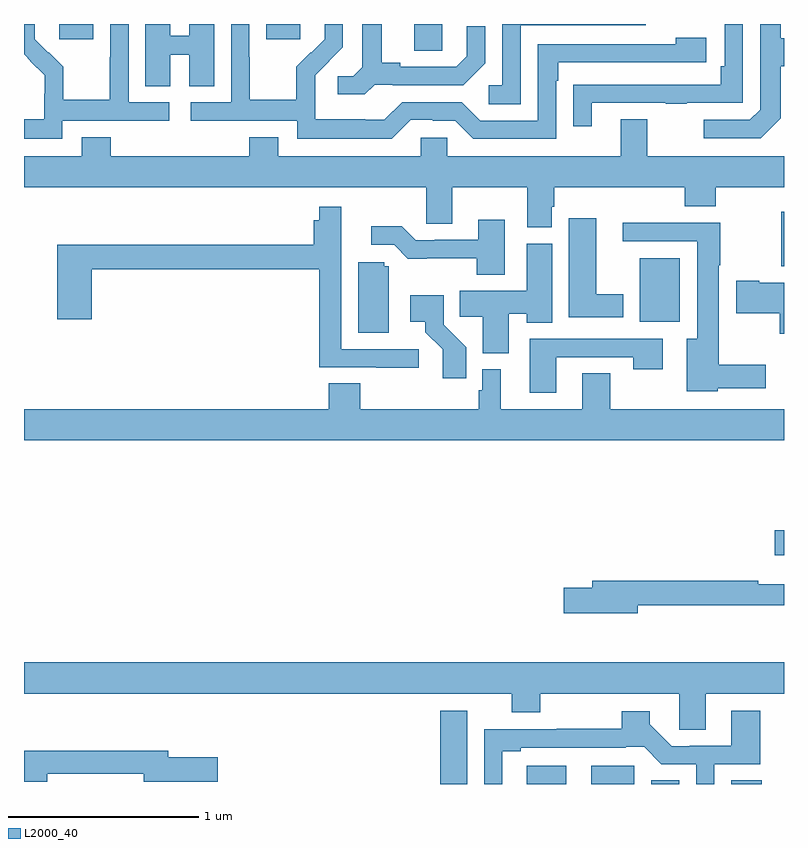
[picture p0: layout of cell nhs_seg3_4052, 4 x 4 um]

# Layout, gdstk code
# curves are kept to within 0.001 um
import gdstk
lib = gdstk.Library(unit=1e-6, precision=1e-09)
def R(c, l, rs):  # rectangles x0, y0, x1, y1
    for r in rs: c.add(gdstk.rectangle(r[:2], r[2:], *l))
def P(c, l, *ps):  # polygons
    for p in ps: c.add(gdstk.Polygon(p, *l))
L2000_40 = (2000, 40)

nhs_seg3_4052 = lib.new_cell('nhs_seg3_4052')
R(nhs_seg3_4052, L2000_40, [(325.19,740.4,325.333,740.785), (325.646,740.4,325.855,740.497), (325.985,740.4,326.212,740.497), (326.3,740.4,326.449,740.42), (326.723,740.4,326.884,740.42), (326.952,741.605,327,741.735), (326.24,742.832,326.452,743.167), (326.986,743.126,327,743.413), (325.055,744.259,325.2,744.4), (323.186,744.321,323.365,744.4), (324.275,744.321,324.454,744.4)])
P(nhs_seg3_4052, L2000_40, [(323.77,744.238),(323.87,744.238),(323.87,744.073),(324.001,744.073),(324.001,744.4),(323.87,744.4),(323.87,744.338),(323.77,744.338),(323.77,744.4),(323.639,744.4),(323.639,744.073),(323.77,744.073)],
  [(325.035,743.895),(325.151,743.895),(325.151,743.892),(325.269,743.892),(325.365,743.796),(325.8,743.796),(325.8,744.101),(325.813,744.101),(325.813,744.198),(326.59,744.198),(326.59,744.328),(326.429,744.328),(326.429,744.294),(325.704,744.294),(325.704,743.892),(325.401,743.892),(325.305,743.988),(324.99,743.988),(324.897,743.895),(324.797,743.895),(324.797,743.899),(324.534,743.899),(324.534,744.033),(324.532,744.033),(324.532,744.13),(324.678,744.278),(324.678,744.4),(324.584,744.4),(324.584,744.32),(324.513,744.249),(324.51,744.252),(324.433,744.175),(324.433,744.001),(324.189,744.001),(324.189,744.224),(324.186,744.224),(324.186,744.4),(324.09,744.4),(324.09,743.988),(323.877,743.988),(323.877,743.892),(324.438,743.892),(324.438,743.795),(324.935,743.795)],
  [(323.202,743.892),(323.764,743.892),(323.764,743.988),(323.55,743.988),(323.55,744.4),(323.454,744.4),(323.454,744.224),(323.452,744.224),(323.452,744.001),(323.207,744.001),(323.207,744.175),(323.13,744.252),(323.127,744.249),(323.057,744.32),(323.057,744.4),(323,744.4),(323,744.24),(323.108,744.13),(323.108,744.033),(323.106,744.033),(323.106,743.899),(323,743.899),(323,743.795),(323.202,743.795)],
  [(324.846,744.081),(324.94,744.081),(324.94,744.078),(325.312,744.078),(325.428,744.194),(325.428,744.388),(325.331,744.388),(325.331,744.231),(325.274,744.174),(324.979,744.174),(324.979,744.197),(324.883,744.197),(324.883,744.4),(324.779,744.4),(324.779,744.173),(324.732,744.126),(324.651,744.126),(324.651,744.029),(324.794,744.029)],
  [(326.983,743.905),(326.983,744.178),(327,744.178),(327,744.325),(326.983,744.325),(326.983,744.4),(326.874,744.4),(326.874,743.949),(326.82,743.895),(326.577,743.895),(326.577,743.799),(326.877,743.799)],
  [(325.614,744.393),(326.273,744.393),(326.273,744.4),(325.518,744.4),(325.518,744.078),(325.446,744.078),(325.446,743.977),(325.614,743.977)],
  [(325.987,743.985),(326.377,743.985),(326.377,743.98),(326.489,743.98),(326.489,743.985),(326.784,743.985),(326.784,744.4),(326.688,744.4),(326.688,744.178),(326.668,744.178),(326.668,744.081),(325.993,744.081),(325.993,744.08),(325.891,744.08),(325.891,743.862),(325.987,743.862)],
  [(325.777,743.439),(325.79,743.439),(325.79,743.54),(326.477,743.54),(326.477,743.441),(326.642,743.441),(326.642,743.54),(327,743.54),(327,743.704),(326.281,743.704),(326.281,743.899),(326.141,743.899),(326.141,743.704),(325.227,743.704),(325.227,743.802),(325.089,743.802),(325.089,743.704),(324.337,743.704),(324.337,743.803),(324.185,743.803),(324.185,743.704),(323.456,743.704),(323.456,743.803),(323.303,743.803),(323.303,743.704),(323,743.704),(323,743.54),(325.116,743.54),(325.116,743.35),(325.255,743.35),(325.255,743.54),(325.649,743.54),(325.649,743.329),(325.777,743.329)],
  [(325.078,742.689),(324.669,742.689),(324.669,743.437),(324.553,743.437),(324.553,743.368),(324.524,743.368),(324.524,743.239),(323.174,743.239),(323.174,742.845),(323.357,742.845),(323.357,743.11),(324.553,743.11),(324.553,742.593),(324.853,742.593),(324.853,742.591),(325.078,742.591)],
  [(326.155,742.978),(326.011,742.978),(326.011,743.377),(325.868,743.377),(325.868,742.856),(326.155,742.856)],
  [(325.531,743.371),(325.391,743.371),(325.391,743.265),(325.162,743.265),(325.162,743.262),(325.062,743.262),(324.989,743.335),(324.828,743.335),(324.828,743.238),(324.948,743.238),(325.021,743.165),(325.384,743.166),(325.384,743.081),(325.531,743.081)],
  [(326.652,742.484),(326.905,742.484),(326.905,742.606),(326.656,742.606),(326.656,743.131),(326.664,743.131),(326.664,743.354),(326.151,743.354),(326.151,743.256),(326.543,743.256),(326.543,742.744),(326.489,742.744),(326.489,742.466),(326.652,742.466)],
  [(325.552,742.874),(325.646,742.874),(325.646,742.828),(325.78,742.828),(325.78,743.244),(325.646,743.244),(325.646,742.996),(325.294,742.996),(325.294,742.858),(325.415,742.858),(325.415,742.667),(325.552,742.667)],
  [(324.919,743.124),(324.897,743.124),(324.897,743.145),(324.758,743.145),(324.758,742.776),(324.919,742.776)],
  [(327,743.038),(326.871,743.038),(326.871,743.048),(326.748,743.048),(326.748,742.877),(326.978,742.877),(326.978,742.769),(327,742.769)],
  [(325.328,742.698),(325.209,742.817),(325.209,742.972),(325.032,742.972),(325.032,742.832),(325.112,742.832),(325.112,742.777),(325.203,742.687),(325.203,742.536),(325.328,742.536)],
  [(325.801,742.647),(326.206,742.647),(326.206,742.584),(326.362,742.584),(326.362,742.743),(325.661,742.743),(325.661,742.458),(325.801,742.458)],
  [(327,742.372),(326.085,742.372),(326.085,742.562),(325.937,742.562),(325.937,742.372),(325.51,742.372),(325.51,742.582),(325.413,742.582),(325.413,742.473),(325.393,742.473),(325.393,742.372),(324.77,742.372),(324.77,742.508),(324.605,742.508),(324.605,742.372),(323,742.372),(323,742.208),(327,742.208)],
  [(326.23,741.342),(327,741.342),(327,741.451),(326.864,741.451),(326.864,741.47),(325.991,741.47),(325.991,741.434),(325.842,741.434),(325.842,741.299),(326.23,741.299)],
  [(326.587,740.876),(327,740.876),(327,741.04),(323,741.04),(323,740.876),(325.568,740.876),(325.568,740.777),(325.716,740.777),(325.716,740.876),(326.448,740.876),(326.448,740.686),(326.587,740.686)],
  [(325.518,740.572),(325.615,740.572),(325.615,740.592),(326.168,740.592),(326.168,740.595),(326.264,740.595),(326.354,740.505),(326.538,740.505),(326.538,740.4),(326.634,740.4),(326.634,740.505),(326.874,740.505),(326.874,740.785),(326.723,740.785),(326.723,740.601),(326.503,740.601),(326.503,740.598),(326.409,740.598),(326.293,740.714),(326.293,740.782),(326.146,740.782),(326.146,740.69),(325.804,740.69),(325.804,740.688),(325.422,740.688),(325.422,740.4),(325.518,740.4)],
  [(323.122,740.454),(323.63,740.454),(323.63,740.411),(324.019,740.411),(324.019,740.541),(323.758,740.541),(323.758,740.575),(323,740.575),(323,740.411),(323.122,740.411)])

lib.write_gds('nhs_seg3_4052.gds')
